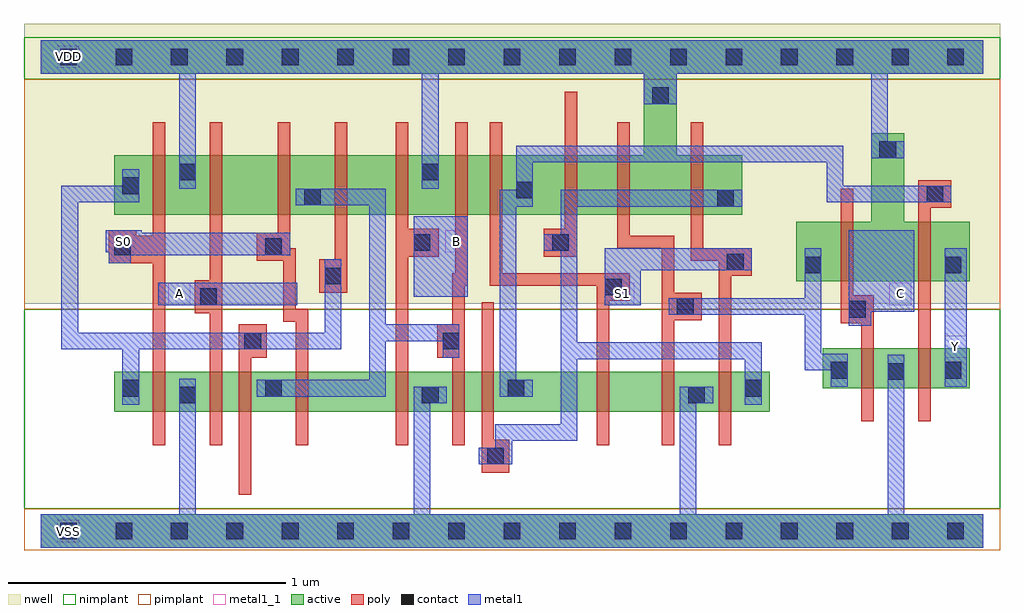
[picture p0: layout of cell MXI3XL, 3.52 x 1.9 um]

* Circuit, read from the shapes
.subckt MXI3XL A B C S0 S1 VDD VSS Y
M1 VSS S0 n1 VSS nfet w=0.145u l=0.045u
M2 n2 A VSS VSS nfet w=0.145u l=0.045u
M3 n3 n1 n2 VSS nfet w=0.145u l=0.045u
M4 n4 S0 n3 VSS nfet w=0.145u l=0.045u
M5 VSS B n4 VSS nfet w=0.145u l=0.045u
M6 n5 n3 VSS VSS nfet w=0.145u l=0.045u
M7 n6 n7 n5 VSS nfet w=0.145u l=0.045u
M8 n8 S1 n6 VSS nfet w=0.145u l=0.045u
M9 VSS n9 n8 VSS nfet w=0.145u l=0.045u
M10 n7 S1 VSS VSS nfet w=0.145u l=0.045u
M11 VSS C n9 VSS nfet w=0.145u l=0.045u
M12 Y n6 VSS VSS nfet w=0.145u l=0.045u
M13 VDD S0 n1 VDD pfet w=0.215u l=0.045u
M14 n10 A VDD VDD pfet w=0.215u l=0.045u
M15 n3 S0 n10 VDD pfet w=0.215u l=0.045u
M16 n11 n1 n3 VDD pfet w=0.215u l=0.045u
M17 VDD B n11 VDD pfet w=0.215u l=0.045u
M18 n12 n3 VDD VDD pfet w=0.215u l=0.045u
M19 n6 S1 n12 VDD pfet w=0.215u l=0.045u
M20 n13 n7 n6 VDD pfet w=0.215u l=0.045u
M21 VDD n9 n13 VDD pfet w=0.215u l=0.045u
M22 n7 S1 VDD VDD pfet w=0.215u l=0.045u
M23 VDD C n9 VDD pfet w=0.215u l=0.045u
M24 Y n6 VDD VDD pfet w=0.215u l=0.045u
.ends

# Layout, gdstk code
import gdstk
lib = gdstk.Library(unit=1e-6, precision=5e-10)
def R(c, l, rs):  # rectangles x0, y0, x1, y1
    for r in rs: c.add(gdstk.rectangle(r[:2], r[2:], *l))
def A(c, l, x, y, w, h, nx, ny, dx, dy):  # array of equal rectangles
    R(c, l, [(x+i*dx, y+j*dy, x+i*dx+w, y+j*dy+h) for i in range(nx) for j in range(ny)])
def P(c, l, *ps):  # polygons
    for p in ps: c.add(gdstk.Polygon(p, *l))
active = (1, 0)
nwell = (2, 0)
poly = (3, 0)
nimplant = (4, 0)
pimplant = (5, 0)
contact = (6, 0)
metal1 = (7, 0)
metal1_1 = (7, 1)

mxi3xl = lib.new_cell('MXI3XL')
R(mxi3xl, active, [(0,-0.06,3.4,0.06), (0.265,0.43,2.63,0.575), (2.82,0.515,3.35,0.66)])
P(mxi3xl, active, [(0,1.77),(3.4,1.77),(3.4,1.65),(2.295,1.65),(2.295,1.355),(2.53,1.355),(2.53,1.14),(0.265,1.14),(0.265,1.355),(2.175,1.355),(2.175,1.65),(0,1.65)],
  [(2.995,1.435),(3.115,1.435),(3.115,1.115),(3.35,1.115),(3.35,0.9),(2.725,0.9),(2.725,1.115),(2.995,1.115)])
R(mxi3xl, nwell, [(-0.06,0.82,3.46,1.83)])
P(mxi3xl, poly, [(0.245,1.085),(0.345,1.085),(0.345,1.065),(0.405,1.065),(0.405,1.475),(0.45,1.475),(0.45,0.31),(0.405,0.31),(0.405,0.965),(0.245,0.965)],
  [(0.61,1.475),(0.655,1.475),(0.655,0.31),(0.61,0.31),(0.61,0.785),(0.555,0.785),(0.555,0.905),(0.61,0.905)],
  [(0.855,1.475),(0.9,1.475),(0.9,1.02),(0.92,1.02),(0.92,0.8),(0.965,0.8),(0.965,0.31),(0.92,0.31),(0.92,0.755),(0.875,0.755),(0.875,0.975),(0.78,0.975),(0.78,1.075),(0.855,1.075)],
  [(1.06,1.475),(1.105,1.475),(1.105,0.86),(1.005,0.86),(1.005,0.98),(1.06,0.98)],
  [(1.28,1.475),(1.325,1.475),(1.325,1.09),(1.435,1.09),(1.435,0.99),(1.325,0.99),(1.325,0.31),(1.28,0.31)],
  [(1.495,1.475),(1.54,1.475),(1.54,0.885),(1.53,0.885),(1.53,0.31),(1.485,0.31),(1.485,0.625),(1.43,0.625),(1.43,0.745),(1.485,0.745),(1.485,0.93),(1.495,0.93)],
  [(1.62,1.475),(1.665,1.475),(1.665,0.93),(2.125,0.93),(2.125,0.83),(2.05,0.83),(2.05,0.31),(2.005,0.31),(2.005,0.885),(1.62,0.885)],
  [(1.89,1.585),(1.935,1.585),(1.935,0.99),(1.815,0.99),(1.815,1.09),(1.89,1.09)],
  [(2.08,1.475),(2.125,1.475),(2.125,1.065),(2.285,1.065),(2.285,0.86),(2.385,0.86),(2.385,0.76),(2.285,0.76),(2.285,0.31),(2.24,0.31),(2.24,1.02),(2.08,1.02)],
  [(2.345,1.475),(2.39,1.475),(2.39,1.02),(2.565,1.02),(2.565,0.92),(2.49,0.92),(2.49,0.31),(2.445,0.31),(2.445,0.975),(2.345,0.975)],
  [(2.885,1.235),(2.93,1.235),(2.93,0.85),(3.005,0.85),(3.005,0.395),(2.96,0.395),(2.96,0.75),(2.885,0.75)],
  [(3.165,1.265),(3.285,1.265),(3.285,1.165),(3.21,1.165),(3.21,0.395),(3.165,0.395)],
  [(0.715,0.745),(0.815,0.745),(0.815,0.625),(0.76,0.625),(0.76,0.13),(0.715,0.13)],
  [(1.59,0.825),(1.635,0.825),(1.635,0.33),(1.69,0.33),(1.69,0.21),(1.59,0.21)])
R(mxi3xl, nimplant, [(-0.06,0.08,3.46,0.8), (-0.06,1.63,3.46,1.78)])
R(mxi3xl, pimplant, [(-0.06,-0.07,3.46,0.08), (-0.06,0.8,3.46,1.63)])
A(mxi3xl, contact, 0.07, -0.03, 0.06, 0.06, 17, 2, 0.2, 1.71)
R(mxi3xl, contact, [(1.61,0.24,1.67,0.3), (0.5,0.46,0.56,0.52), (1.375,0.46,1.435,0.52), (2.335,0.46,2.395,0.52), (0.295,0.485,0.355,0.545), (0.81,0.485,0.87,0.545), (1.685,0.485,1.745,0.545), (2.54,0.485,2.6,0.545), (3.055,0.545,3.115,0.605), (2.85,0.55,2.91,0.61), (3.26,0.55,3.32,0.61), (0.735,0.655,0.795,0.715), (1.45,0.655,1.51,0.715), (2.915,0.77,2.975,0.83), (2.295,0.78,2.355,0.84), (0.575,0.815,0.635,0.875), (2.035,0.85,2.095,0.91), (1.025,0.89,1.085,0.95), (2.755,0.93,2.815,0.99), (3.26,0.93,3.32,0.99), (2.475,0.94,2.535,1), (0.265,0.995,0.325,1.055), (0.81,0.995,0.87,1.055), (1.345,1.01,1.405,1.07), (1.845,1.01,1.905,1.07), (2.44,1.17,2.5,1.23), (0.95,1.175,1.01,1.235), (3.195,1.185,3.255,1.245), (1.715,1.2,1.775,1.26), (0.295,1.215,0.355,1.275), (0.5,1.265,0.56,1.325), (1.375,1.265,1.435,1.325), (3.025,1.345,3.085,1.405), (2.205,1.54,2.265,1.6)])
R(mxi3xl, metal1, [(3.26,0.52,3.34,1.02), (0.425,0.815,0.925,0.895), (1.345,0.845,1.54,1.135)])
P(mxi3xl, metal1, [(0,1.77),(3.4,1.77),(3.4,1.65),(3.055,1.65),(3.055,1.405),(3.115,1.405),(3.115,1.345),(2.995,1.345),(2.995,1.65),(2.295,1.65),(2.295,1.54),(2.175,1.54),(2.175,1.65),(1.435,1.65),(1.435,1.235),(1.375,1.235),(1.375,1.65),(0.56,1.65),(0.56,1.235),(0.5,1.235),(0.5,1.65),(0,1.65)],
  [(0.295,1.305),(0.355,1.305),(0.355,1.185),(0.135,1.185),(0.135,0.715),(1.025,0.715),(1.025,0.98),(1.085,0.98),(1.085,0.655),(0.355,0.655),(0.355,0.455),(0.295,0.455),(0.295,0.655),(0.075,0.655),(0.075,1.245),(0.295,1.245)],
  [(1.715,1.39),(2.895,1.39),(2.895,1.245),(3.285,1.245),(3.285,1.185),(2.835,1.185),(2.835,1.33),(1.775,1.33),(1.775,1.17),(1.715,1.17),(1.715,0.545),(1.775,0.545),(1.775,0.485),(1.655,0.485),(1.655,1.23),(1.715,1.23)],
  [(0.92,1.235),(1.245,1.235),(1.245,0.745),(1.51,0.745),(1.51,0.625),(1.45,0.625),(1.45,0.685),(1.245,0.685),(1.245,0.485),(0.78,0.485),(0.78,0.545),(1.185,0.545),(1.185,1.175),(0.92,1.175)],
  [(0.235,1.085),(0.365,1.085),(0.365,1.075),(0.9,1.075),(0.9,0.995),(0.325,0.995),(0.325,0.965),(0.245,0.965),(0.245,1.005),(0.235,1.005)],
  [(1.875,1.23),(2.53,1.23),(2.53,1.17),(1.935,1.17),(1.935,0.68),(2.6,0.68),(2.6,0.455),(2.54,0.455),(2.54,0.62),(1.935,0.62),(1.935,0.325),(1.7,0.325),(1.7,0.24),(1.58,0.24),(1.58,0.3),(1.64,0.3),(1.64,0.385),(1.875,0.385),(1.875,1.01),(1.815,1.01),(1.815,1.07),(1.875,1.07)],
  [(0.5,0.55),(0.56,0.55),(0.56,0.06),(1.345,0.06),(1.345,0.52),(1.465,0.52),(1.465,0.46),(1.405,0.46),(1.405,0.06),(2.305,0.06),(2.305,0.52),(2.425,0.52),(2.425,0.46),(2.365,0.46),(2.365,0.06),(3.055,0.06),(3.055,0.635),(3.115,0.635),(3.115,0.06),(3.4,0.06),(3.4,-0.06),(0,-0.06),(0,0.06),(0.5,0.06)],
  [(2.755,1.02),(2.815,1.02),(2.815,0.64),(2.91,0.64),(2.91,0.52),(2.85,0.52),(2.85,0.58),(2.755,0.58),(2.755,0.78),(2.265,0.78),(2.265,0.84),(2.755,0.84)],
  [(2.035,1.02),(2.565,1.02),(2.565,0.94),(2.165,0.94),(2.165,0.815),(2.035,0.815)],
  [(2.915,1.085),(3.15,1.085),(3.15,0.79),(2.995,0.79),(2.995,0.74),(2.915,0.74)])
R(mxi3xl, metal1_1, [(0.06,-0.04,0.14,0.04), (3.26,0.625,3.34,0.705), (0.46,0.815,0.54,0.895), (2.06,0.815,2.14,0.895), (3.06,0.815,3.14,0.895), (0.26,1.005,0.34,1.085), (1.46,1.005,1.54,1.085), (0.06,1.67,0.14,1.75)])
mxi3xl.add(gdstk.Label('Y', (3.3,0.665), layer=7, texttype=1))
mxi3xl.add(gdstk.Label('C', (3.1,0.855), layer=7, texttype=1))
mxi3xl.add(gdstk.Label('S1', (2.1,0.855), layer=7, texttype=1))
mxi3xl.add(gdstk.Label('B', (1.5,1.045), layer=7, texttype=1))
mxi3xl.add(gdstk.Label('A', (0.5,0.855), layer=7, texttype=1))
mxi3xl.add(gdstk.Label('S0', (0.3,1.045), layer=7, texttype=1))
mxi3xl.add(gdstk.Label('VDD', (0.1,1.71), layer=7, texttype=1))
mxi3xl.add(gdstk.Label('VSS', (0.1,0), layer=7, texttype=1))
mxi3xl.add(gdstk.Label('MXI3XL', (0,0), layer=63, texttype=0))

lib.write_gds('MXI3XL.gds')
